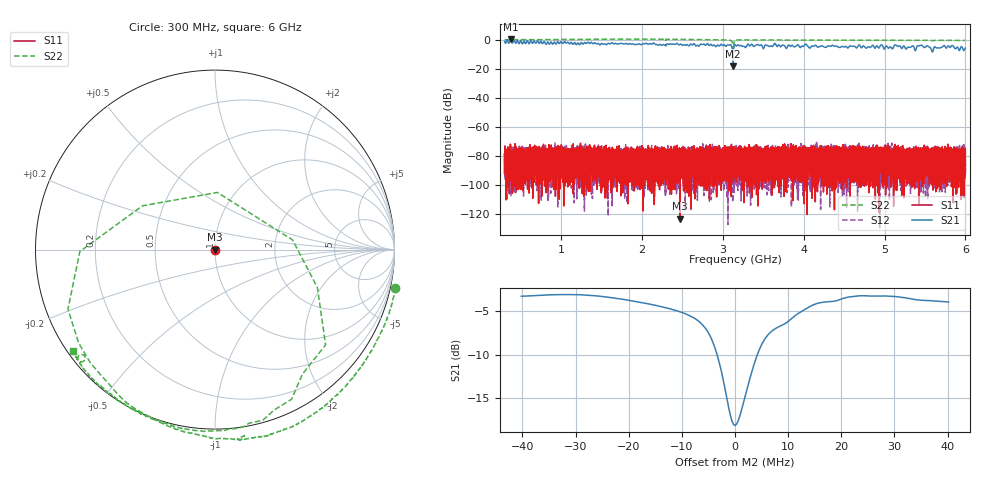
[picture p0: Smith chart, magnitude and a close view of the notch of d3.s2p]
!Agilent Technologies,N5230C,SG49000117,A.08.50.07
!Agilent N5230C: A.08.50.07
!Date: Sunday, March 17, 2024 09:28:52
!Correction: S11(Off)
!S21(Off)
!S12(Off)
!S22(Full 1 Port(2))
!S2P File: Measurements: S11, S21, S12, S22:
# Hz S  RI  R 50
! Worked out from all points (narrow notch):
!   20001 points, 300 MHz to 6 GHz, reference 50 ohm
!   highest |S21| = 0.46 dB at 373.5 MHz (marker M1); lowest = -18.1 dB at 3.123 GHz (marker M2)
!   notch at M2: 14.6 dB deep, 6.74 MHz wide at half that depth
!   lowest |S11| = -123.0 dB at 2.469 GHz (marker M3), VSWR 1.00, Z = 50 + j8.7e-06 ohm
!   |S11| at or under -10 dB: start of sweep to end of sweep
!   |S22| runs from -10.0 to 0.7 dB; largest |S21 - S12| = 1.1
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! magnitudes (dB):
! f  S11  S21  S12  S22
! 300 MHz  -78.6  -0.9  -85.2  0.2
! 373.5 MHz  -79.6  0.5  -80.3  0.2
! 1.25 GHz  -83.3  -1.7  -76.3  0.5
! 2.2 GHz  -80.0  -3.7  -81.1  0.6
! 2.469 GHz  -123.0  -2.9  -91.2  0.5
! 3.077 GHz  -80.2  -3.5  -86.5  -0.1
! 3.123 GHz  -74.6  -18.1  -77.5  -6.5
! 3.15 GHz  -88.1  -3.3  -90.0  -0.4
! 3.163 GHz  -74.9  -3.9  -79.9  0.0
! 3.189 GHz  -76.0  -3.3  -79.4  0.1
! 3.972 GHz  -80.7  -4.3  -84.6  0.0
! 4.026 GHz  -77.1  -2.7  -81.5  0.0
! 4.1 GHz  -74.8  -4.2  -83.2  0.0
! 5.05 GHz  -82.9  -5.6  -79.3  -0.1
! 5.147 GHz  -88.7  -3.8  -85.3  -0.1
! 5.384 GHz  -86.7  -7.2  -81.1  -0.1
! 5.441 GHz  -79.4  -3.8  -86.1  -0.1
! 5.542 GHz  -79.0  -4.4  -82.5  -0.2
! 5.582 GHz  -85.6  -7.2  -79.5  -0.2
! 5.725 GHz  -81.9  -4.2  -84.3  -0.2
! 5.958 GHz  -83.3  -4.8  -78.1  -0.3
! 6 GHz  -74.8  -5.5  -80.8  -0.3
